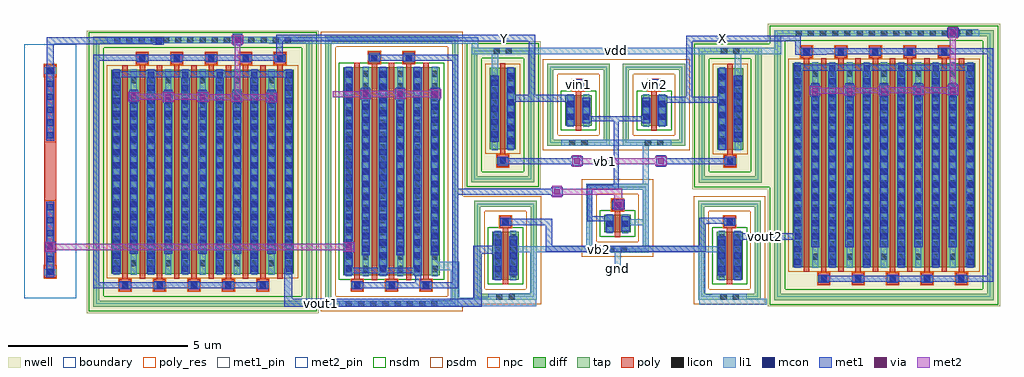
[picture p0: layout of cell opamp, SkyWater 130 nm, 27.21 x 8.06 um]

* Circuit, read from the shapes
.subckt opamp X Y gnd vb1 vb2 vdd vin1 vin2 vout1 vout2
XM1 gnd sky130_fd_pr__nfet_01v8_DAKYLM_2/D sky130_fd_pr__nfet_01v8_DAKYLM_2/D gnd sky130_fd_pr__nfet_01v8 w=5.8 l=0.15 m=5
XM2 gnd vb2 vout1 gnd sky130_fd_pr__nfet_01v8 w=1.34 l=0.15
XM3 sky130_fd_pr__nfet_01v8_5Y6VJK_5/D vin1 Y gnd sky130_fd_pr__nfet_01v8 w=0.86 l=0.15
XM4 gnd sky130_fd_pr__nfet_01v8_DAKYLM_2/D sky130_fd_pr__nfet_01v8_5Y6VJK_5/D gnd sky130_fd_pr__nfet_01v8 w=0.49 l=0.15
XM5 X vin2 sky130_fd_pr__nfet_01v8_5Y6VJK_5/D gnd sky130_fd_pr__nfet_01v8 w=0.86 l=0.15
XM6 vout2 vb2 gnd gnd sky130_fd_pr__nfet_01v8 w=1.34 l=0.15
XM7 vdd Y vout1 vdd sky130_fd_pr__pfet_01v8 w=5.69 l=0.15 m=10
XM8 Y vb1 vdd vdd sky130_fd_pr__pfet_01v8 w=2.27 l=0.15
XM9 vdd vb1 X vdd sky130_fd_pr__pfet_01v8 w=2.27 l=0.15
XM10 vdd X vout2 vdd sky130_fd_pr__pfet_01v8 w=5.69 l=0.15 m=10
R11 vdd sky130_fd_pr__nfet_01v8_DAKYLM_2/D sky130_fd_pr__res_generic_po w=0.33 l=1.65
.ends

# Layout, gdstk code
from math import pi, radians
import gdstk
lib = gdstk.Library(unit=1e-6, precision=1e-09)
def R(c, l, rs):  # rectangles x0, y0, x1, y1
    for r in rs: c.add(gdstk.rectangle(r[:2], r[2:], *l))
def A(c, l, x, y, w, h, nx, ny, dx, dy):  # array of equal rectangles
    R(c, l, [(x+i*dx, y+j*dy, x+i*dx+w, y+j*dy+h) for i in range(nx) for j in range(ny)])
nwell = (64, 20)
diff = (65, 20)
tap = (65, 44)
poly_res = (66, 13)
poly = (66, 20)
licon = (66, 44)
li1 = (67, 20)
mcon = (67, 44)
met1_pin = (68, 16)
met1 = (68, 20)
via = (68, 44)
met2_pin = (69, 16)
met2 = (69, 20)
nsdm = (93, 44)
psdm = (94, 20)
npc = (95, 20)
boundary = (235, 4)

sky130_fd_pr__pfet_01v8_ = lib.new_cell('sky130_fd_pr__pfet_01v8_655UAJ')
R(sky130_fd_pr__pfet_01v8_, nwell, [(-3.235,-3.94,3.235,3.94)])
R(sky130_fd_pr__pfet_01v8_, diff, [(-2.545,-2.845,2.545,2.845)])
R(sky130_fd_pr__pfet_01v8_, tap, [(-3.055,-3.76,3.055,-3.59), (-3.055,-3.59,-2.885,3.59), (2.885,-3.59,3.055,3.59), (-3.055,3.59,3.055,3.76)])
A(sky130_fd_pr__pfet_01v8_, poly, -2.325, -3.33, 0.33, 0.33, 5, 1, 0.96, 0)
A(sky130_fd_pr__pfet_01v8_, poly, -2.235, -3, 0.15, 5.975, 5, 1, 0.96, 0)
A(sky130_fd_pr__pfet_01v8_, poly, -1.755, -2.975, 0.15, 5.975, 5, 1, 0.96, 0)
A(sky130_fd_pr__pfet_01v8_, poly, -1.845, 3, 0.33, 0.33, 5, 1, 0.96, 0)
A(sky130_fd_pr__pfet_01v8_, licon, -2.245, -3.25, 0.17, 0.17, 5, 1, 0.96, 0)
A(sky130_fd_pr__pfet_01v8_, licon, -2.485, -2.635, 0.17, 0.17, 11, 16, 0.48, 0.34)
A(sky130_fd_pr__pfet_01v8_, licon, -1.765, 3.08, 0.17, 0.17, 5, 1, 0.96, 0)
A(sky130_fd_pr__pfet_01v8_, licon, -2.465, 3.59, 0.17, 0.17, 15, 1, 0.34, 0)
A(sky130_fd_pr__pfet_01v8_, li1, -2.325, -3.25, 0.33, 0.17, 5, 1, 0.96, 0)
A(sky130_fd_pr__pfet_01v8_, li1, -2.485, -2.865, 0.17, 5.73, 11, 1, 0.48, 0)
A(sky130_fd_pr__pfet_01v8_, li1, -1.845, 3.08, 0.33, 0.17, 5, 1, 0.96, 0)
R(sky130_fd_pr__pfet_01v8_, li1, [(-2.655,3.59,2.655,3.76)])
A(sky130_fd_pr__pfet_01v8_, mcon, -2.245, -3.25, 0.17, 0.17, 5, 1, 0.96, 0)
A(sky130_fd_pr__pfet_01v8_, mcon, -2.485, -2.785, 0.17, 0.17, 6, 2, 0.96, 0.36)
A(sky130_fd_pr__pfet_01v8_, mcon, -2.485, -2.065, 0.17, 0.17, 11, 12, 0.48, 0.36)
A(sky130_fd_pr__pfet_01v8_, mcon, -2.485, 2.255, 0.17, 0.17, 6, 2, 0.96, 0.36)
A(sky130_fd_pr__pfet_01v8_, mcon, -1.765, 3.08, 0.17, 0.17, 5, 1, 0.96, 0)
A(sky130_fd_pr__pfet_01v8_, met1, -2.305, -3.28, 0.29, 0.03, 5, 2, 0.96, 0.2)
A(sky130_fd_pr__pfet_01v8_, met1, -2.515, -2.845, 0.23, 5.48, 6, 1, 0.96, 0)
A(sky130_fd_pr__pfet_01v8_, met1, -2.515, 2.805, 0.23, 0.04, 6, 1, 0.96, 0)
A(sky130_fd_pr__pfet_01v8_, met1, -1.825, 3.05, 0.29, 0.045, 5, 1, 0.96, 0)
A(sky130_fd_pr__pfet_01v8_, met1, -1.825, 3.265, 0.29, 0.015, 5, 1, 0.96, 0)
R(sky130_fd_pr__pfet_01v8_, met1, [(-3.05,-3.25,1.825,-3.08), (-3.05,-3.08,-2.88,3.095), (-2.035,-2.29,-1.805,1.935), (-1.075,-2.29,-0.845,1.93), (-0.115,-2.29,0.115,1.925), (0.845,-2.29,1.075,1.92), (1.805,-2.29,2.035,1.915), (1.795,1.915,2.055,2.235), (0.825,1.92,1.085,2.24), (-0.125,1.925,0.135,2.245), (-1.095,1.93,-0.835,2.25), (-2.05,1.935,-1.79,2.255), (1.805,2.235,2.035,2.29), (0.845,2.24,1.075,2.29), (-0.115,2.245,0.115,2.29), (-1.075,2.25,-0.845,2.29), (-2.035,2.255,-1.805,2.29), (-2.515,2.635,2.515,2.805), (-3.05,3.095,2.305,3.265)])
R(sky130_fd_pr__pfet_01v8_, via, [(1.85,2,2,2.15), (0.88,2.005,1.03,2.155), (-0.07,2.01,0.08,2.16), (-1.04,2.015,-0.89,2.165), (-1.995,2.02,-1.845,2.17)])
R(sky130_fd_pr__pfet_01v8_, met2, [(1.765,1.945,2.085,1.995), (0.795,1.95,1.115,1.995), (-0.155,1.955,0.165,2), (-1.125,1.96,-0.805,2.005), (-2.08,1.965,-1.76,2.01), (0.795,1.995,2.085,2), (-0.155,2,2.085,2.005), (-1.125,2.005,2.085,2.01), (-2.08,2.01,2.085,2.16), (-2.08,2.16,1.115,2.165), (1.765,2.16,2.085,2.205), (-2.08,2.165,0.165,2.17), (0.795,2.165,1.115,2.21), (-2.08,2.17,-0.805,2.175), (-0.155,2.17,0.165,2.215), (-2.08,2.175,-1.76,2.225), (-1.125,2.175,-0.805,2.22)])
R(sky130_fd_pr__pfet_01v8_, nsdm, [(-3.18,-3.885,3.18,-3.465), (-3.18,-3.465,-2.76,3.465), (2.76,-3.465,3.18,3.465), (-3.18,3.465,3.18,3.885)])
R(sky130_fd_pr__pfet_01v8_, psdm, [(-2.67,-2.97,2.67,2.97)])
A(sky130_fd_pr__pfet_01v8_, npc, -2.345, -3.35, 0.37, 0.37, 5, 1, 0.96, 0)
A(sky130_fd_pr__pfet_01v8_, npc, -1.865, 2.98, 0.37, 0.37, 5, 1, 0.96, 0)
R(sky130_fd_pr__pfet_01v8_, boundary, [(-2.97,-3.675,2.97,3.675)])
sky130_fd_pr__pfet_01v8_.add(gdstk.Label('D', (0.01,2.745), layer=68, texttype=5))
sky130_fd_pr__pfet_01v8_.add(gdstk.Label('S', (0.34,2.08), layer=69, texttype=5))
sky130_fd_pr__pfet_01v8_.add(gdstk.Label('G', (-0.22,3.16), layer=68, texttype=5))
sky130_fd_pr__pfet_01v8_.add(gdstk.Label('B', (0,3.68), layer=67, texttype=5))

sky130_fd_pr__res_generi = lib.new_cell('sky130_fd_pr__res_generic_po_UTTMMG')
R(sky130_fd_pr__res_generi, poly_res, [(-0.165,-0.825,0.165,0.825)])
R(sky130_fd_pr__res_generi, poly, [(-0.165,-2.975,0.165,2.975)])
R(sky130_fd_pr__res_generi, licon, [(-0.085,-2.895,0.085,-2.725), (-0.085,2.725,0.085,2.895)])
R(sky130_fd_pr__res_generi, li1, [(-0.165,-2.895,0.165,-2.725), (-0.085,-2.725,0.085,-0.91), (-0.085,0.91,0.085,2.725), (-0.165,2.725,0.165,2.895)])
A(sky130_fd_pr__res_generi, mcon, -0.085, -2.89, 0.17, 0.17, 1, 6, 0, 0.36)
A(sky130_fd_pr__res_generi, mcon, -0.085, 0.915, 0.17, 0.17, 1, 6, 0, 0.36)
R(sky130_fd_pr__res_generi, met1, [(-0.115,-2.955,0.115,-0.85), (-0.115,0.85,0.115,2.955)])
R(sky130_fd_pr__res_generi, npc, [(-0.185,-2.995,0.185,-2.625), (-0.185,2.625,0.185,2.995)])
R(sky130_fd_pr__res_generi, boundary, [(-0.73,-3.54,0.73,3.54)])

sky130_fd_pr__nfet_01v8_ = lib.new_cell('sky130_fd_pr__nfet_01v8_DAKYLM')
R(sky130_fd_pr__nfet_01v8_, diff, [(-1.345,-2.9,1.345,2.9)])
R(sky130_fd_pr__nfet_01v8_, tap, [(-1.855,-3.77,1.855,-3.6), (-1.855,-3.6,-1.685,3.6), (1.685,-3.6,1.855,3.6), (-1.855,3.6,1.855,3.77)])
A(sky130_fd_pr__nfet_01v8_, poly, -1.125, -3.34, 0.33, 0.33, 3, 1, 0.96, 0)
A(sky130_fd_pr__nfet_01v8_, poly, -1.035, -3.01, 0.15, 6.04, 3, 1, 0.96, 0)
R(sky130_fd_pr__nfet_01v8_, poly, [(-0.555,-3.03,-0.405,3.01), (0.405,-3.03,0.555,3.01), (-0.645,3.01,-0.315,3.34), (0.315,3.01,0.645,3.34)])
A(sky130_fd_pr__nfet_01v8_, licon, -1.275, -3.77, 0.17, 0.17, 8, 1, 0.34, 0)
A(sky130_fd_pr__nfet_01v8_, licon, -1.045, -3.26, 0.17, 0.17, 3, 1, 0.96, 0)
A(sky130_fd_pr__nfet_01v8_, licon, -1.285, -2.805, 0.17, 0.17, 6, 17, 0.48, 0.34)
R(sky130_fd_pr__nfet_01v8_, licon, [(-0.565,3.09,-0.395,3.26), (0.395,3.09,0.565,3.26)])
A(sky130_fd_pr__nfet_01v8_, li1, -1.125, -3.26, 0.33, 0.17, 3, 1, 0.96, 0)
A(sky130_fd_pr__nfet_01v8_, li1, -1.285, -2.92, 0.17, 5.84, 6, 1, 0.48, 0)
R(sky130_fd_pr__nfet_01v8_, li1, [(-1.455,-3.77,1.455,-3.6), (-0.645,3.09,-0.315,3.26), (0.315,3.09,0.645,3.26)])
A(sky130_fd_pr__nfet_01v8_, mcon, -1.045, -3.26, 0.17, 0.17, 3, 1, 0.96, 0)
A(sky130_fd_pr__nfet_01v8_, mcon, -1.285, -2.785, 0.17, 0.17, 3, 16, 0.96, 0.36)
A(sky130_fd_pr__nfet_01v8_, mcon, -0.805, -2.245, 0.17, 0.17, 3, 13, 0.96, 0.36)
R(sky130_fd_pr__nfet_01v8_, mcon, [(-0.565,3.09,-0.395,3.26), (0.395,3.09,0.565,3.26)])
A(sky130_fd_pr__nfet_01v8_, met1, -1.105, -3.29, 0.29, 0.03, 3, 1, 0.96, 0)
A(sky130_fd_pr__nfet_01v8_, met1, -1.315, -2.9, 0.23, 0.055, 3, 1, 0.96, 0)
A(sky130_fd_pr__nfet_01v8_, met1, -1.315, -2.68, 0.23, 5.58, 3, 1, 0.96, 0)
R(sky130_fd_pr__nfet_01v8_, met1, [(-1.105,-3.26,1.105,-3.255), (-1.105,-3.255,1.855,-3.09), (-1.105,-3.09,-0.815,-3.06), (-0.145,-3.09,0.145,-3.06), (0.815,-3.09,1.855,-3.085), (0.815,-3.085,1.105,-3.06), (1.685,-3.085,1.855,3.09), (-1.315,-2.845,0.835,-2.68), (-0.835,-2.33,-0.605,1.995), (0.125,-2.33,0.355,2), (1.085,-2.33,1.315,2.005), (-0.86,1.995,-0.6,2.315), (0.105,2,0.365,2.32), (1.085,2.005,1.355,2.325), (-0.835,2.315,-0.605,2.33), (0.125,2.32,0.355,2.33), (1.085,2.325,1.315,2.33), (-0.625,3.06,-0.335,3.09), (0.335,3.06,0.625,3.09), (-0.625,3.09,1.855,3.26), (-0.625,3.26,-0.335,3.29), (0.335,3.26,0.625,3.29)])
R(sky130_fd_pr__nfet_01v8_, via, [(-0.805,2.08,-0.655,2.23), (0.16,2.085,0.31,2.235), (1.15,2.09,1.3,2.24)])
R(sky130_fd_pr__nfet_01v8_, met2_pin, [(-1.635,2.065,-0.86,2.24)])
R(sky130_fd_pr__nfet_01v8_, met2, [(-0.89,2.025,-0.57,2.065), (0.075,2.03,0.395,2.065), (1.065,2.035,1.385,2.065), (-1.635,2.065,1.385,2.24), (-0.89,2.24,1.385,2.245), (-0.89,2.245,-0.57,2.285), (0.075,2.245,1.385,2.25), (0.075,2.25,0.395,2.29), (1.065,2.25,1.385,2.295)])
R(sky130_fd_pr__nfet_01v8_, nsdm, [(-1.47,-3.025,1.47,3.025)])
R(sky130_fd_pr__nfet_01v8_, psdm, [(-1.98,-3.895,1.98,-3.475), (-1.98,-3.475,-1.56,3.475), (1.56,-3.475,1.98,3.475), (-1.98,3.475,1.98,3.895)])
A(sky130_fd_pr__nfet_01v8_, npc, -1.145, -3.36, 0.37, 0.37, 3, 1, 0.96, 0)
R(sky130_fd_pr__nfet_01v8_, npc, [(-0.665,2.99,-0.295,3.36), (0.295,2.99,0.665,3.36)])
R(sky130_fd_pr__nfet_01v8_, boundary, [(-1.77,-3.685,1.77,3.685)])
sky130_fd_pr__nfet_01v8_.add(gdstk.Label('G', (0.01,3.175), layer=68, texttype=5))
sky130_fd_pr__nfet_01v8_.add(gdstk.Label('D', (-0.505,-2.78), layer=68, texttype=5))
sky130_fd_pr__nfet_01v8_.add(gdstk.Label('S', (-1.247,2.152), layer=69, texttype=5))
sky130_fd_pr__nfet_01v8_.add(gdstk.Label('B', (0.04,-3.67), layer=67, texttype=5))

c_sky130_fd_pr__nfet_01v8_ = lib.new_cell('sky130_fd_pr__nfet_01v8_XKTGFS')
R(c_sky130_fd_pr__nfet_01v8_, diff, [(-0.365,-0.825,0.365,0.515)])
R(c_sky130_fd_pr__nfet_01v8_, tap, [(-0.875,-1.385,0.875,-1.215), (-0.875,-1.215,-0.705,1.215), (0.705,-1.215,0.875,1.215), (-0.875,1.215,0.875,1.385)])
R(c_sky130_fd_pr__nfet_01v8_, poly, [(-0.075,-0.955,0.075,0.625), (-0.165,0.625,0.165,0.955)])
A(c_sky130_fd_pr__nfet_01v8_, licon, -0.305, -0.75, 0.17, 0.17, 1, 4, 0, 0.34)
A(c_sky130_fd_pr__nfet_01v8_, licon, 0.135, -0.75, 0.17, 0.17, 1, 4, 0, 0.34)
R(c_sky130_fd_pr__nfet_01v8_, licon, [(-0.255,-1.385,-0.085,-1.215), (0.085,-1.385,0.255,-1.215), (-0.085,0.705,0.085,0.875)])
R(c_sky130_fd_pr__nfet_01v8_, li1, [(-0.475,-1.385,0.475,-1.215), (-0.305,-0.845,-0.135,0.535), (0.135,-0.845,0.305,0.535), (-0.165,0.705,0.165,0.875)])
A(c_sky130_fd_pr__nfet_01v8_, mcon, -0.305, -0.6, 0.17, 0.17, 1, 3, 0, 0.36)
A(c_sky130_fd_pr__nfet_01v8_, mcon, 0.135, -0.6, 0.17, 0.17, 1, 3, 0, 0.36)
R(c_sky130_fd_pr__nfet_01v8_, mcon, [(-0.085,0.705,0.085,0.875)])
R(c_sky130_fd_pr__nfet_01v8_, met1, [(-0.335,-0.825,-0.105,0.515), (0.105,-0.705,0.335,0.395), (-0.145,0.675,0.145,0.905)])
R(c_sky130_fd_pr__nfet_01v8_, nsdm, [(-0.49,-0.95,0.49,0.64)])
R(c_sky130_fd_pr__nfet_01v8_, psdm, [(-1,-1.51,1,-1.09), (-1,-1.09,-0.58,1.09), (0.58,-1.09,1,1.09), (-1,1.09,1,1.51)])
R(c_sky130_fd_pr__nfet_01v8_, npc, [(-0.185,0.605,0.185,0.975)])
R(c_sky130_fd_pr__nfet_01v8_, boundary, [(-0.79,-1.3,0.79,1.3)])
c_sky130_fd_pr__nfet_01v8_.add(gdstk.Label('D', (-0.24,-0.15), layer=68, texttype=5))
c_sky130_fd_pr__nfet_01v8_.add(gdstk.Label('S', (0.22,-0.13), layer=68, texttype=5))
c_sky130_fd_pr__nfet_01v8_.add(gdstk.Label('G', (-0.02,0.8), layer=68, texttype=5))
c_sky130_fd_pr__nfet_01v8_.add(gdstk.Label('B', (-0.01,-1.3), layer=67, texttype=5))

c_sky130_fd_pr__pfet_01v8_ = lib.new_cell('sky130_fd_pr__pfet_01v8_R3FGVA')
R(c_sky130_fd_pr__pfet_01v8_, nwell, [(-1.055,-2.055,1.055,2.055)])
R(c_sky130_fd_pr__pfet_01v8_, diff, [(-0.365,-0.955,0.365,1.315)])
R(c_sky130_fd_pr__pfet_01v8_, tap, [(-0.875,-1.875,0.875,-1.705), (-0.875,-1.705,-0.705,1.705), (0.705,-1.705,0.875,1.705), (-0.875,1.705,0.875,1.875)])
R(c_sky130_fd_pr__pfet_01v8_, poly, [(-0.165,-1.44,0.165,-1.11), (-0.075,-1.11,0.075,1.445)])
A(c_sky130_fd_pr__pfet_01v8_, licon, -0.305, -0.755, 0.17, 0.17, 1, 6, 0, 0.34)
A(c_sky130_fd_pr__pfet_01v8_, licon, 0.135, -0.755, 0.17, 0.17, 1, 6, 0, 0.34)
R(c_sky130_fd_pr__pfet_01v8_, licon, [(-0.085,-1.36,0.085,-1.19), (-0.255,1.705,-0.085,1.875), (0.085,1.705,0.255,1.875)])
R(c_sky130_fd_pr__pfet_01v8_, li1, [(-0.165,-1.36,0.165,-1.19), (-0.305,-0.975,-0.135,1.335), (0.135,-0.975,0.305,1.335), (-0.475,1.705,0.475,1.875)])
A(c_sky130_fd_pr__pfet_01v8_, mcon, -0.305, -0.805, 0.17, 0.17, 1, 6, 0, 0.36)
A(c_sky130_fd_pr__pfet_01v8_, mcon, 0.135, -0.625, 0.17, 0.17, 1, 5, 0, 0.36)
R(c_sky130_fd_pr__pfet_01v8_, mcon, [(-0.085,-1.36,0.085,-1.19)])
R(c_sky130_fd_pr__pfet_01v8_, met1, [(-0.145,-1.39,0.145,-1.16), (-0.335,-0.955,-0.105,1.315), (0.105,-0.74,0.335,1.1)])
R(c_sky130_fd_pr__pfet_01v8_, nsdm, [(-1,-2,1,-1.58), (-1,-1.58,-0.58,1.58), (0.58,-1.58,1,1.58), (-1,1.58,1,2)])
R(c_sky130_fd_pr__pfet_01v8_, psdm, [(-0.49,-1.08,0.49,1.44)])
R(c_sky130_fd_pr__pfet_01v8_, npc, [(-0.185,-1.46,0.185,-1.09)])
R(c_sky130_fd_pr__pfet_01v8_, boundary, [(-0.79,-1.79,0.79,1.79)])
c_sky130_fd_pr__pfet_01v8_.add(gdstk.Label('D', (-0.22,0.17), layer=68, texttype=5))
c_sky130_fd_pr__pfet_01v8_.add(gdstk.Label('S', (0.24,0.21), layer=68, texttype=5))
c_sky130_fd_pr__pfet_01v8_.add(gdstk.Label('G', (-0.01,-1.28), layer=68, texttype=5))
c_sky130_fd_pr__pfet_01v8_.add(gdstk.Label('B', (-0.01,1.79), layer=67, texttype=5))

c_sky130_fd_pr__nfet_01v8__ = lib.new_cell('sky130_fd_pr__nfet_01v8_5Y6VJK')
R(c_sky130_fd_pr__nfet_01v8__, diff, [(-0.365,-0.4,0.365,0.09)])
R(c_sky130_fd_pr__nfet_01v8__, tap, [(-0.875,-0.96,0.875,-0.79), (-0.875,-0.79,-0.705,0.79), (0.705,-0.79,0.875,0.79), (-0.875,0.79,0.875,0.96)])
R(c_sky130_fd_pr__nfet_01v8__, poly, [(-0.075,-0.53,0.075,0.2), (-0.165,0.2,0.165,0.53)])
R(c_sky130_fd_pr__nfet_01v8__, licon, [(-0.255,-0.96,-0.085,-0.79), (0.085,-0.96,0.255,-0.79), (-0.305,-0.24,-0.135,-0.07), (0.135,-0.24,0.305,-0.07), (-0.085,0.28,0.085,0.45)])
R(c_sky130_fd_pr__nfet_01v8__, li1, [(-0.875,-0.96,0.875,-0.79), (-0.875,-0.79,-0.705,0.79), (0.705,-0.79,0.875,0.79), (-0.305,-0.42,-0.135,0.11), (0.135,-0.42,0.305,0.11), (-0.165,0.28,0.165,0.45), (-0.875,0.79,0.875,0.96)])
R(c_sky130_fd_pr__nfet_01v8__, mcon, [(-0.305,-0.24,-0.135,-0.07), (0.135,-0.24,0.305,-0.07), (-0.085,0.28,0.085,0.45)])
R(c_sky130_fd_pr__nfet_01v8__, met1, [(-0.335,-0.4,-0.105,0.09), (0.105,-0.365,0.335,0.055), (-0.145,0.25,0.145,0.48)])
R(c_sky130_fd_pr__nfet_01v8__, nsdm, [(-0.49,-0.525,0.49,0.215)])
R(c_sky130_fd_pr__nfet_01v8__, psdm, [(-1,-1.085,1,-0.665), (-1,-0.665,-0.58,0.665), (0.58,-0.665,1,0.665), (-1,0.665,1,1.085)])
R(c_sky130_fd_pr__nfet_01v8__, npc, [(-0.185,0.18,0.185,0.55)])
R(c_sky130_fd_pr__nfet_01v8__, boundary, [(-0.79,-0.875,0.79,0.875)])
c_sky130_fd_pr__nfet_01v8__.add(gdstk.Label('D', (-0.22,-0.16), layer=68, texttype=5))
c_sky130_fd_pr__nfet_01v8__.add(gdstk.Label('S', (0.22,-0.15), layer=68, texttype=5))
c_sky130_fd_pr__nfet_01v8__.add(gdstk.Label('G', (0,0.36), layer=68, texttype=5))
c_sky130_fd_pr__nfet_01v8__.add(gdstk.Label('B', (0,-0.88), layer=67, texttype=5))

c_sky130_fd_pr__nfet_01v8___ = lib.new_cell('sky130_fd_pr__nfet_01v8_XZTLFT')
R(c_sky130_fd_pr__nfet_01v8___, diff, [(-0.365,-0.585,0.365,0.275)])
R(c_sky130_fd_pr__nfet_01v8___, tap, [(-0.875,-1.145,0.875,-0.975), (-0.875,-0.975,-0.705,0.975), (0.705,-0.975,0.875,0.975), (-0.875,0.975,0.875,1.145)])
R(c_sky130_fd_pr__nfet_01v8___, poly, [(-0.075,-0.715,0.075,0.385), (-0.165,0.385,0.165,0.715)])
R(c_sky130_fd_pr__nfet_01v8___, licon, [(-0.255,-1.145,-0.085,-0.975), (0.085,-1.145,0.255,-0.975), (-0.305,-0.41,-0.135,-0.24), (0.135,-0.41,0.305,-0.24), (-0.305,-0.07,-0.135,0.1), (0.135,-0.07,0.305,0.1), (-0.085,0.465,0.085,0.635)])
R(c_sky130_fd_pr__nfet_01v8___, li1, [(-0.475,-1.145,0.475,-0.975), (-0.305,-0.605,-0.135,0.295), (0.135,-0.605,0.305,0.295), (-0.165,0.465,0.165,0.635)])
R(c_sky130_fd_pr__nfet_01v8___, mcon, [(-0.305,-0.42,-0.135,-0.25), (0.135,-0.42,0.305,-0.25), (-0.305,-0.06,-0.135,0.11), (0.135,-0.06,0.305,0.11), (-0.085,0.465,0.085,0.635)])
R(c_sky130_fd_pr__nfet_01v8___, met1, [(-0.335,-0.585,-0.105,0.275), (0.105,-0.51,0.335,0.2), (-0.145,0.435,0.145,0.665)])
R(c_sky130_fd_pr__nfet_01v8___, nsdm, [(-0.49,-0.71,0.49,0.4)])
R(c_sky130_fd_pr__nfet_01v8___, psdm, [(-1,-1.27,1,-0.85), (-1,-0.85,-0.58,0.85), (0.58,-0.85,1,0.85), (-1,0.85,1,1.27)])
R(c_sky130_fd_pr__nfet_01v8___, npc, [(-0.185,0.365,0.185,0.735)])
R(c_sky130_fd_pr__nfet_01v8___, boundary, [(-0.79,-1.06,0.79,1.06)])
c_sky130_fd_pr__nfet_01v8___.add(gdstk.Label('D', (-0.225,-0.14), layer=68, texttype=5))
c_sky130_fd_pr__nfet_01v8___.add(gdstk.Label('S', (0.225,-0.145), layer=68, texttype=5))
c_sky130_fd_pr__nfet_01v8___.add(gdstk.Label('G', (0.01,0.55), layer=68, texttype=5))
c_sky130_fd_pr__nfet_01v8___.add(gdstk.Label('B', (0,-1.065), layer=67, texttype=5))

opamp = lib.new_cell('opamp')
R(opamp, li1, [(-5.265,-5.225,-2.305,-5.055), (2.235,-5.18,4.11,-5.06), (2.22,-5.06,4.11,-5.01), (-4.695,-5.055,-2.305,-5.035), (-4.695,-5.035,-2.3,-4.99), (2.22,-5.01,3.095,-4.89), (-4.695,-4.99,-4.46,-4.22), (-3.045,-4.99,-2.3,-4.865), (2.22,-4.89,2.405,-3.72), (-2.475,-4.865,-2.3,-3.72), (-0.12,-4.245,0.05,-3.725), (-5.215,-4.22,-4.46,-3.985), (-0.12,-3.725,0.83,-3.72), (-3.065,-3.72,2.965,-3.55), (0.66,-3.55,0.83,-2.965), (0.135,-2.965,0.83,-2.795), (0.66,-2.795,0.83,-0.755), (-0.995,-0.755,0.83,-0.585), (3.23,1.305,3.41,1.81), (-3.55,1.4,-3.375,1.81), (-4.105,1.81,-3.115,1.985), (-2.935,1.81,4.515,1.985), (-4.105,1.985,-3.93,2.1), (4.34,1.985,4.515,2.3), (-12.925,2.095,-12.755,2.265), (-9.76,2.1,-3.93,2.125), (-10.71,2.11,-10.54,2.125), (-10.71,2.125,-3.93,2.275), (-10.71,2.275,-9.22,2.295), (-10.71,2.295,-10.54,2.31), (4.34,2.3,5.405,2.475), (9.21,2.31,9.41,2.325), (9.21,2.325,10.015,2.495), (9.21,2.495,9.41,2.51)])
R(opamp, mcon, [(-12.925,2.095,-12.755,2.265), (-10.71,2.125,-10.54,2.295), (9.225,2.325,9.395,2.495)])
R(opamp, met1_pin, [(0.82,0.81,1.13,1.1), (-1.29,0.815,-0.98,1.105)])
R(opamp, met1, [(-9.34,-5.24,-3.835,-5.01), (-9.34,-5.01,-9.11,-4.18), (-4.065,-5.01,-3.835,-3.765), (-5.685,-4.725,-5.515,-4.185), (-4.065,-3.765,-3.305,-3.535), (-15.99,-3.73,-15.73,-3.41), (-7.665,-3.73,-7.405,-3.41), (-2.04,-3.71,2.41,-3.53), (-2.04,-3.53,-1.86,-2.96), (2.23,-3.53,2.41,-2.93), (3.22,-3.37,5.07,-3.19), (-3.26,-2.96,-1.86,-2.78), (2.23,-2.93,3.23,-2.75), (-0.89,-2.855,-0.185,-2.715), (-0.89,-2.715,-0.75,-1.98), (-0.16,-2.52,0.16,-2.26), (-1.89,-2.16,-1.57,-2.115), (-4.66,-2.115,-1.57,-1.945), (-0.89,-1.98,-0.015,-1.84), (-1.89,-1.945,-1.57,-1.9), (-0.155,-1.84,-0.015,-0.065), (1.04,-1.335,1.3,-1.26), (-1.34,-1.305,-1.02,-1.26), (-3.32,-1.26,-1.02,-1.09), (1.04,-1.26,3.205,-1.09), (-1.34,-1.09,-1.02,-1.045), (1.04,-1.09,1.3,-1.015), (-1.005,-0.065,0.84,0.075), (1.175,0.45,2.925,0.615), (-3.015,0.485,-1.265,0.675), (1.87,0.615,2.035,2.16), (-2.525,0.675,-2.335,2.16), (0.82,0.81,1.13,1.1), (-1.29,0.815,-0.98,1.105), (-15.96,1.35,-15.765,2.08), (-9.565,1.615,-9.375,2.16), (4.905,1.79,5.78,1.955), (4.905,1.955,5.1,1.99), (4.905,1.99,5.07,2.16), (-10.77,2.05,-10.51,2.08), (-12.985,2.065,-12.695,2.08), (-15.96,2.08,-12.695,2.275), (-10.77,2.08,-10.48,2.34), (-9.565,2.16,-2.335,2.35), (1.87,2.16,5.07,2.325), (-12.985,2.275,-12.695,2.295), (9.15,2.28,9.47,2.54), (-10.77,2.34,-10.51,2.37)])
R(opamp, via, [(-15.935,-3.645,-15.785,-3.495), (-7.61,-3.645,-7.46,-3.495), (-0.075,-2.465,0.075,-2.315), (-1.805,-2.105,-1.655,-1.955), (-1.255,-1.25,-1.105,-1.1), (1.095,-1.25,1.245,-1.1), (-10.715,2.135,-10.565,2.285), (9.235,2.335,9.385,2.485)])
R(opamp, met2, [(-16.02,-3.7,-15.7,-3.66), (-7.695,-3.7,-7.375,-3.66), (-16.02,-3.66,-7.375,-3.48), (-16.02,-3.48,-15.7,-3.44), (-7.695,-3.48,-7.375,-3.44), (-0.13,-2.55,0.13,-2.23), (-0.13,-2.23,0.085,-2.115), (-1.86,-2.19,-1.6,-2.115), (-1.86,-2.115,0.085,-1.945), (-1.86,-1.945,-1.6,-1.87), (-1.31,-1.335,-1.05,-1.26), (1.01,-1.305,1.33,-1.26), (-1.31,-1.26,1.33,-1.09), (-1.31,-1.09,-1.05,-1.015), (1.01,-1.09,1.33,-1.045), (-10.99,0.525,-10.56,0.69), (-10.725,0.69,-10.56,2.08), (8.995,0.705,9.39,0.87), (9.225,0.87,9.39,2.25), (-10.8,2.08,-10.48,2.34), (9.18,2.25,9.44,2.57)])
R(opamp, nsdm, [(4.095,-1.9,4.205,2.1)])
R(opamp, psdm, [(-4.365,-5.17,-4.17,-2.15), (-0.135,-0.88,-0.025,1.66)])
opamp.add(gdstk.Reference(sky130_fd_pr__pfet_01v8_, (-11.615,-1.475)))
opamp.add(gdstk.Reference(sky130_fd_pr__res_generi, (-15.865,-1.46)))
opamp.add(gdstk.Reference(sky130_fd_pr__nfet_01v8_, (-6.345,-1.465)))
opamp.add(gdstk.Reference(c_sky130_fd_pr__nfet_01v8_, (-3.17,-3.66)))
opamp.add(gdstk.Reference(c_sky130_fd_pr__pfet_01v8_, (-3.245,0.105), rotation=pi, x_reflection=True))
opamp.add(gdstk.Reference(c_sky130_fd_pr__nfet_01v8__, (-0.045,-2.765)))
opamp.add(gdstk.Reference(c_sky130_fd_pr__nfet_01v8_, (3.08,-3.66), rotation=pi, x_reflection=True))
opamp.add(gdstk.Reference(c_sky130_fd_pr__nfet_01v8___, (0.975,0.39), rotation=pi, x_reflection=True))
opamp.add(gdstk.Reference(c_sky130_fd_pr__nfet_01v8___, (-1.135,0.39)))
opamp.add(gdstk.Reference(c_sky130_fd_pr__pfet_01v8_, (3.095,0.1)))
opamp.add(gdstk.Reference(sky130_fd_pr__pfet_01v8_, (7.385,-1.29), rotation=pi, x_reflection=True))
opamp.add(gdstk.Label('Y', (-3.205,2.25), layer=68, texttype=5))
opamp.add(gdstk.Label('X', (2.895,2.245), layer=68, texttype=5))
opamp.add(gdstk.Label('vdd', (-0.075,1.895), layer=67, texttype=5))
opamp.add(gdstk.Label('gnd', (-0.055,-4.165), layer=67, texttype=5))
opamp.add(gdstk.Label('vout2', (4.09,-3.28), layer=68, texttype=5))
opamp.add(gdstk.Label('vout1', (-8.3,-5.14), layer=68, texttype=5))
opamp.add(gdstk.Label('vb2', (-0.55,-3.63), layer=68, texttype=5))
opamp.add(gdstk.Label('vb1', (-0.38,-1.18), layer=69, texttype=5))
opamp.add(gdstk.Label('vin1', (-1.135,0.96), layer=68, texttype=5))
opamp.add(gdstk.Label('vin2', (0.975,0.955), layer=68, texttype=5))

lib.write_gds('opamp.gds')
